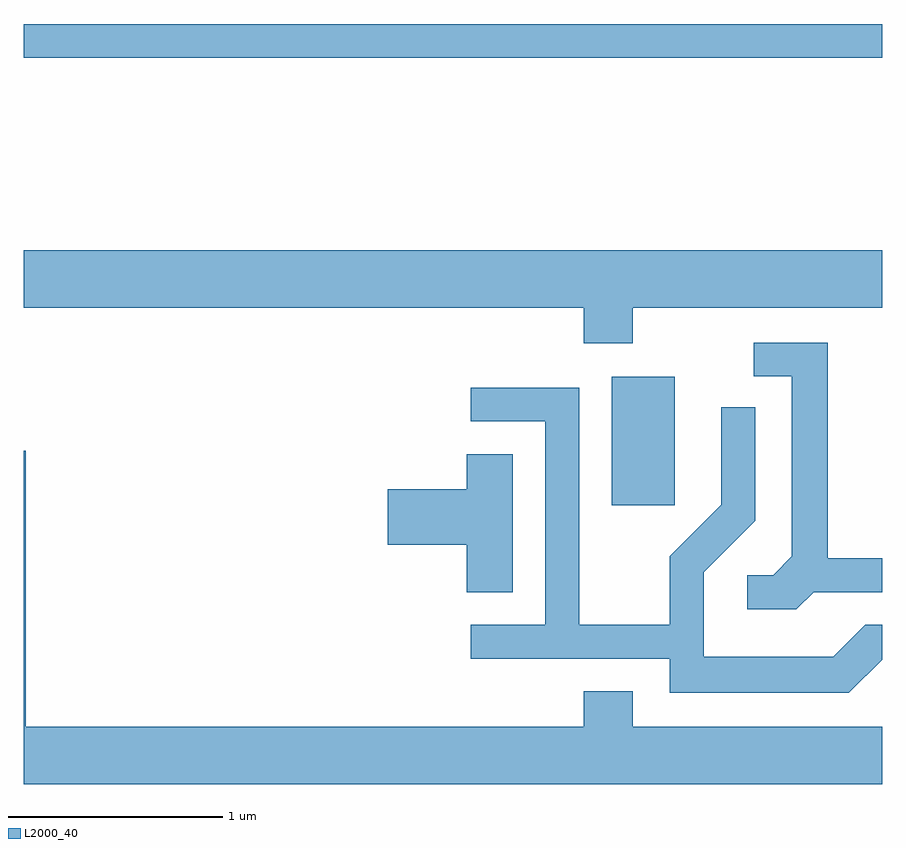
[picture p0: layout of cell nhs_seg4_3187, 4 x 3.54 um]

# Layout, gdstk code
import gdstk
lib = gdstk.Library(unit=1e-6, precision=1e-09)
def R(c, l, rs):  # rectangles x0, y0, x1, y1
    for r in rs: c.add(gdstk.rectangle(r[:2], r[2:], *l))
def P(c, l, *ps):  # polygons
    for p in ps: c.add(gdstk.Polygon(p, *l))
L2000_40 = (2000, 40)

nhs_seg4_3187 = lib.new_cell('nhs_seg4_3187')
R(nhs_seg4_3187, L2000_40, [(280.351,1373.736,280.644,1374.334), (277.611,1375.821,281.611,1375.979)])
P(nhs_seg4_3187, L2000_40, [(280.449,1374.656),(281.611,1374.656),(281.611,1374.924),(277.611,1374.924),(277.611,1374.656),(280.221,1374.656),(280.221,1374.491),(280.449,1374.491)],
  [(281.292,1373.331),(281.611,1373.331),(281.611,1373.489),(281.359,1373.489),(281.359,1374.494),(281.013,1374.494),(281.013,1374.336),(281.191,1374.336),(281.191,1373.497),(281.104,1373.409),(280.983,1373.409),(280.983,1373.251),(281.212,1373.251)],
  [(281.611,1373.015),(281.611,1373.179),(281.534,1373.179),(281.384,1373.029),(280.779,1373.029),(280.779,1373.424),(281.019,1373.664),(281.019,1374.193),(280.861,1374.193),(280.861,1373.737),(280.621,1373.497),(280.621,1373.179),(280.199,1373.179),(280.199,1374.284),(279.693,1374.284),(279.693,1374.126),(280.041,1374.126),(280.041,1373.179),(279.693,1373.179),(279.693,1373.021),(280.621,1373.021),(280.621,1372.861),(281.457,1372.861)],
  [(281.611,1372.704),(280.449,1372.704),(280.449,1372.869),(280.221,1372.869),(280.221,1372.704),(277.619,1372.704),(277.619,1373.989),(277.611,1373.989),(277.611,1372.436),(281.611,1372.436)],
  [(279.889,1373.974),(279.676,1373.974),(279.676,1373.809),(279.306,1373.809),(279.306,1373.551),(279.676,1373.551),(279.676,1373.331),(279.889,1373.331)])

lib.write_gds('nhs_seg4_3187.gds')
